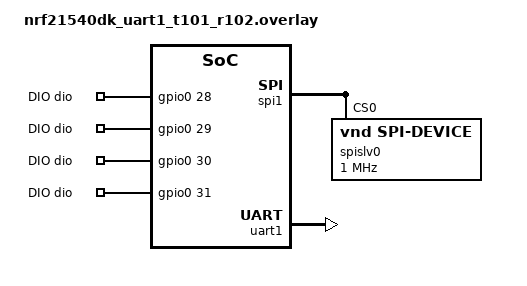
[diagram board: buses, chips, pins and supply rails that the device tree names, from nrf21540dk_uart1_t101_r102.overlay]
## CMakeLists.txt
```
#
# Copyright (c) 2021 Nordic Semiconductor ASA
#
# SPDX-License-Identifier: LicenseRef-Nordic-5-Clause
#
cmake_minimum_required(VERSION 3.20.0)

find_package(Zephyr REQUIRED HINTS $ENV{ZEPHYR_BASE})
project(LossTest_3rd_02s)

# NORDIC SDK APP START
target_sources(app PRIVATE src/main.c)
# NORDIC SDK APP END
target_sources(app PRIVATE src/losstst_svc.c)
target_sources(app PRIVATE src/ext_scr_svc.c)
target_sources(app PRIVATE src/int_spec_uart_svc.c)
target_sources(app PRIVATE src/int_spec_uart_svc.h)
target_sources(app PRIVATE src/nrf52txpwr.c)
target_sources(app PRIVATE src/nrf52txpwr.h)


zephyr_linker_sources(SECTIONS sections-rom.ld)
#zephyr_iterable_section(NAME my_section KVMA RAM_REGION GROUP RODATA_REGION SUBALIGN ${CONFIG_LINKER_ITERABLE_SUBALIGN})
zephyr_iterable_section(NAME KVMA RAM_REGION GROUP RODATA_REGION SUBALIGN ${CONFIG_LINKER_ITERABLE_SUBALIGN})
```

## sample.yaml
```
sample:
  description: Bluetooth Low Energy multiple advertising sets sample
  name: BLE multiple advertising sets sample
tests:
  sample.bluetooth.multiple_adv_sets.build:
    build_only: true
    integration_platforms:
      - nrf52dk_nrf52832
      - nrf52840dk_nrf52840
      - nrf5340dk_nrf5340_cpuapp
      - nrf5340dk_nrf5340_cpuapp_ns
    platform_allow: nrf52dk_nrf52832 nrf52840dk_nrf52840 nrf5340dk_nrf5340_cpuapp
      nrf5340dk_nrf5340_cpuapp_ns
    tags: bluetooth ci_build
```

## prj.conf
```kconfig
#
# Copyright (c) 2021 Nordic Semiconductor ASA
#
# SPDX-License-Identifier: LicenseRef-Nordic-5-Clause
#

CONFIG_NCS_SAMPLES_DEFAULTS=y

CONFIG_BT=y
#CONFIG_BT_PERIPHERAL=y
#CONFIG_BT_DEVICE_NAME="Nordic multi adv sets"
CONFIG_BT_DEVICE_APPEARANCE=512
#CONFIG_BT_DEVICE_NAME_DYNAMIC=y

CONFIG_BT_EXT_ADV=y
#CONFIG_BT_EXT_ADV_MAX_ADV_SET=2

#CONFIG_BT_DIS=y
#CONFIG_BT_DIS_PNP=y
#CONFIG_BT_DIS_MANUF="Nordic Semiconductor ASA"
#CONFIG_BT_DIS_PNP_VID_SRC=2
#CONFIG_BT_DIS_PNP_VID=0x1915
#CONFIG_BT_DIS_PNP_PID=0xEEF1
#CONFIG_BT_DIS_PNP_VER=0x0100

CONFIG_DK_LIBRARY=y
CONFIG_GPIO=y
CONFIG_PINCTRL=y
#CONFIG_UART_ASYNC_API=y
CONFIG_UART_INTERRUPT_DRIVEN=y
CONFIG_UART_USE_RUNTIME_CONFIGURE=y
CONFIG_OUTPUT_SYMBOLS=y
CONFIG_OUTPUT_DISASSEMBLY=y

CONFIG_BT_DEVICE_NAME_MAX=62
#CONFIG_BT_DEVICE_NAME="Turnkey LossTest"
CONFIG_BT_DEVICE_NAME="FFFFar. LossTest"
CONFIG_BT_PERIPHERAL=y
CONFIG_BT_CENTRAL=y
CONFIG_BT_BROADCASTER=y
CONFIG_BT_OBSERVER=y
CONFIG_BT_EXT_ADV_MAX_ADV_SET=5
CONFIG_BT_CTLR_TX_PWR_ANTENNA=8
CONFIG_BT_CTLR_TX_PWR_DYNAMIC_CONTROL=y
CONFIG_BT_CTLR_PHY_2M=y
CONFIG_BT_CTLR_PHY_CODED=y
CONFIG_BT_DEVICE_NAME_DYNAMIC=y
CONFIG_BT_CTLR_ADV_DATA_LEN_MAX=240
CONFIG_FLASH=y
CONFIG_FLASH_MAP=y
CONFIG_SETTINGS=y
CONFIG_SETTINGS_LOG_LEVEL_OFF=y
CONFIG_NVS=y
CONFIG_NVS_LOG_LEVEL_OFF=y
CONFIG_SETTINGS_NVS=y
CONFIG_BT_ID_MAX=5
CONFIG_BT_SETTINGS=y


CONFIG_CLOCK_CONTROL_NRF_K32SRC_XTAL=y
#CONFIG_CLOCK_CONTROL_NRF_K32SRC_RC=y

CONFIG_THREAD_NAME=y
CONFIG_THREAD_ANALYZER=y
CONFIG_THREAD_ANALYZER_AUTO=y
CONFIG_SCHED_THREAD_USAGE_ANALYSIS=y

CONFIG_MAIN_STACK_SIZE=2048
```

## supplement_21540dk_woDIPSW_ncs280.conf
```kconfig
CONFIG_BT_DIS_MODEL="nRF52840_QIAA"

CONFIG_BT_CTLR_TX_PWR_ANTENNA=20
#CONFIG_FEM_AL_LIB=y
CONFIG_MPSL_FEM=y
# CONFIG_MPSL_FEM_NRF21540_GPIO is not set
CONFIG_MPSL_FEM_NRF21540_GPIO_SPI=y
CONFIG_MPSL_FEM_NRF21540_TX_GAIN_DB=10
CONFIG_MPSL_FEM_NRF21540_TX_GAIN_DB_POUTA=20
CONFIG_MPSL_FEM_NRF21540_TX_GAIN_DB_POUTB=10
CONFIG_MPSL_FEM_NRF21540_RX_GAIN_DB=13
CONFIG_MPSL_FEM_NRF21540_RUNTIME_PA_GAIN_CONTROL=y
CONFIG_MPSL_FEM_POWER_MODEL=y
CONFIG_MPSL_FEM_POWER_MODEL_NRF21540_USE_BUILTIN=y
CONFIG_MPSL_FEM_BUILTIN_POWER_MODEL_UPDATE_PERIOD=2000
CONFIG_MPSL_FEM_DEVICE_CONFIG_254=y
CONFIG_NRFX_PPI=y

#CONFIG_RTT_CONSOLE=y
#CONFIG_UART_RTT=y
CONFIG_UART_CONSOLE=y
CONFIG_CONSOLE_HANDLER=y
CONFIG_CONSOLE_SUBSYS=y
CONFIG_CONSOLE_GETCHAR=y
CONFIG_CONSOLE_GETCHAR_BUFSIZE=64
CONFIG_CONSOLE_PUTCHAR_BUFSIZE=512

#CONFIG_SOC_DCDC_NRF52X=y
#CONFIG_BOARD_ENABLE_DCDC=y

#CONFIG_SPI=y
CONFIG_COMPILER_OPT="-DDTM_ADAPT_BRD=0 -DSHORT_NM -DUART_XMT_RCV_METHOD=HAZARD_UART_XMT_RCV -DUART_SEND_BREAK_METHOD=HAZARD_UART_BRK"
CONFIG_KERNEL_BIN_NAME="LossTest_21540dk_woDIPSW"
CONFIG_OUTPUT_SYMBOLS=y
CONFIG_BT_LOG_LEVEL_OFF=y
#CONFIG_UART_0_NRF_TX_BUFFER_SIZE=256
CONFIG_BT_ID_MAX=5

CONFIG_NRFX_TEMP=y
```

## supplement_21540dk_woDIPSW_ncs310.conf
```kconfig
CONFIG_BT_DIS_MODEL="nRF52840_QIAA"

CONFIG_BT_CTLR_TX_PWR_ANTENNA=20
#CONFIG_FEM_AL_LIB=y
CONFIG_MPSL_FEM=y
# CONFIG_MPSL_FEM_NRF21540_GPIO is not set
CONFIG_MPSL_FEM_NRF21540_GPIO_SPI=y
CONFIG_MPSL_FEM_NRF21540_TX_GAIN_DB=10
CONFIG_MPSL_FEM_NRF21540_TX_GAIN_DB_POUTA=20
CONFIG_MPSL_FEM_NRF21540_TX_GAIN_DB_POUTB=10
CONFIG_MPSL_FEM_NRF21540_RX_GAIN_DB=13
CONFIG_MPSL_FEM_NRF21540_RUNTIME_PA_GAIN_CONTROL=y
CONFIG_MPSL_FEM_POWER_MODEL=y
CONFIG_MPSL_FEM_POWER_MODEL_NRF21540_USE_BUILTIN=y
CONFIG_MPSL_FEM_BUILTIN_POWER_MODEL_UPDATE_PERIOD=2000
CONFIG_MPSL_FEM_DEVICE_CONFIG_254=y
CONFIG_NRFX_PPI=y

#CONFIG_RTT_CONSOLE=y
#CONFIG_UART_RTT=y
CONFIG_UART_CONSOLE=y
CONFIG_CONSOLE_HANDLER=y
CONFIG_CONSOLE_SUBSYS=y
CONFIG_CONSOLE_GETCHAR=y
CONFIG_CONSOLE_GETCHAR_BUFSIZE=64
CONFIG_CONSOLE_PUTCHAR_BUFSIZE=512

#CONFIG_SOC_DCDC_NRF52X=y
#CONFIG_BOARD_ENABLE_DCDC=y

#CONFIG_SPI=y
CONFIG_COMPILER_OPT="-DDTM_ADAPT_BRD=0 -DSHORT_NM -DUART_XMT_RCV_METHOD=HAZARD_UART_XMT_RCV -DUART_SEND_BREAK_METHOD=HAZARD_UART_BRK"
CONFIG_KERNEL_BIN_NAME="LossTest_21540dk_woDIPSW"
CONFIG_OUTPUT_SYMBOLS=y
CONFIG_BT_LOG_LEVEL_OFF=y
#CONFIG_UART_0_NRF_TX_BUFFER_SIZE=256
```

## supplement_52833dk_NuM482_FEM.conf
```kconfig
CONFIG_BT_DIS_MODEL="nRF52833_QDAA"

CONFIG_BT_CTLR_TX_PWR_ANTENNA=20
CONFIG_MPSL_FEM=y
# CONFIG_MPSL_FEM_NRF21540_GPIO is not set
CONFIG_MPSL_FEM_NRF21540_GPIO_SPI=y
CONFIG_MPSL_FEM_NRF21540_TX_GAIN_DB=10
CONFIG_MPSL_FEM_NRF21540_TX_GAIN_DB_POUTA=20
CONFIG_MPSL_FEM_NRF21540_TX_GAIN_DB_POUTB=10
CONFIG_MPSL_FEM_NRF21540_RX_GAIN_DB=13
CONFIG_MPSL_FEM_NRF21540_RUNTIME_PA_GAIN_CONTROL=y
CONFIG_MPSL_FEM_POWER_MODEL=y
CONFIG_MPSL_FEM_POWER_MODEL_NRF21540_USE_BUILTIN=y
CONFIG_MPSL_FEM_BUILTIN_POWER_MODEL_UPDATE_PERIOD=2000
CONFIG_MPSL_FEM_DEVICE_CONFIG_254=y
CONFIG_NRFX_PPI=y

#CONFIG_RTT_CONSOLE=y
#CONFIG_UART_RTT=y
CONFIG_UART_CONSOLE=y
CONFIG_CONSOLE_HANDLER=y
CONFIG_CONSOLE_SUBSYS=y
CONFIG_CONSOLE_GETCHAR=y
CONFIG_CONSOLE_GETCHAR_BUFSIZE=64
CONFIG_CONSOLE_PUTCHAR_BUFSIZE=512

#CONFIG_SPI=y
CONFIG_COMPILER_OPT="-DDTM_ADAPT_BRD=0 -DSHORT_NM -DUART_XMT_RCV_METHOD=HAZARD_UART_XMT_RCV -DUART_SEND_BREAK_METHOD=HAZARD_UART_BRK"
CONFIG_KERNEL_BIN_NAME="LossTest_proto_wiFEM"
CONFIG_OUTPUT_SYMBOLS=y
CONFIG_BT_LOG_LEVEL_OFF=y
```

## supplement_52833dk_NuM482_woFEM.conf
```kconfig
CONFIG_BT_DIS_MODEL="nRF52833_QDAA"

CONFIG_BT_CTLR_TX_PWR_ANTENNA=8
#CONFIG_MPSL_FEM=y
## CONFIG_MPSL_FEM_NRF21540_GPIO is not set
#CONFIG_MPSL_FEM_NRF21540_GPIO_SPI=y
#CONFIG_MPSL_FEM_NRF21540_TX_GAIN_DB=10
#CONFIG_MPSL_FEM_NRF21540_TX_GAIN_DB_POUTA=20
#CONFIG_MPSL_FEM_NRF21540_TX_GAIN_DB_POUTB=10
#CONFIG_MPSL_FEM_NRF21540_RX_GAIN_DB=13
#CONFIG_MPSL_FEM_NRF21540_RUNTIME_PA_GAIN_CONTROL=y
#CONFIG_MPSL_FEM_POWER_MODEL=y
#CONFIG_MPSL_FEM_POWER_MODEL_NRF21540_USE_BUILTIN=y
#CONFIG_MPSL_FEM_BUILTIN_POWER_MODEL_UPDATE_PERIOD=2000
#CONFIG_MPSL_FEM_DEVICE_CONFIG_254=y
#CONFIG_NRFX_PPI=y

#CONFIG_RTT_CONSOLE=y
#CONFIG_UART_RTT=y
CONFIG_UART_CONSOLE=y
CONFIG_CONSOLE_HANDLER=y
CONFIG_CONSOLE_SUBSYS=y
CONFIG_CONSOLE_GETCHAR=y
CONFIG_CONSOLE_GETCHAR_BUFSIZE=64
CONFIG_CONSOLE_PUTCHAR_BUFSIZE=512

#CONFIG_SPI=y
CONFIG_COMPILER_OPT="-DDTM_ADAPT_BRD=0 -DSHORT_NM -DUART_XMT_RCV_METHOD=HAZARD_UART_XMT_RCV -DUART_SEND_BREAK_METHOD=HAZARD_UART_BRK"
CONFIG_KERNEL_BIN_NAME="LossTest_proto_woFEM"
CONFIG_OUTPUT_SYMBOLS=y
CONFIG_BT_LOG_LEVEL_OFF=y
```

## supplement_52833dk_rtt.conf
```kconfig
CONFIG_BT_DIS_MODEL="nRF52833_QDAA"
CONFIG_BT_DEVICE_NAME_MAX=62
CONFIG_BT_DEVICE_NAME="Turnkey LossTest"
CONFIG_BT_PERIPHERAL=y
CONFIG_BT_CENTRAL=y
CONFIG_BT_BROADCASTER=y
CONFIG_BT_OBSERVER=y
CONFIG_BT_EXT_ADV_MAX_ADV_SET=2
#CONFIG_BT_CTLR_TX_PWR_DBM=0
CONFIG_BT_CTLR_TX_PWR_ANTENNA=8
CONFIG_BT_CTLR_TX_PWR_DYNAMIC_CONTROL=y
CONFIG_BT_CTLR_PHY_2M=y
CONFIG_BT_CTLR_PHY_CODED=y
CONFIG_BT_DEVICE_NAME_DYNAMIC=y
CONFIG_BT_DEVICE_NAME_MAX=62

CONFIG_UART_CONSOLE=n
CONFIG_RTT_CONSOLE=y
CONFIG_UART_RTT=y

CONFIG_CLOCK_CONTROL_NRF_K32SRC_XTAL=y
#CONFIG_CLOCK_CONTROL_NRF_K32SRC_RC=y

CONFIG_BOARD_ENABLE_DCDC=y

CONFIG_COMPILER_OPT="-DADV_IDENTIFY_ADDR=1 -DADV_PHY_SPEC=1"
CONFIG_KERNEL_BIN_NAME="LossTest_DCDC"
```

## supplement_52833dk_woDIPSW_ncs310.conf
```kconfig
CONFIG_BT_DIS_MODEL="nRF52833_QDAA"

CONFIG_BT_CTLR_TX_PWR_ANTENNA=8

#CONFIG_RTT_CONSOLE=y
#CONFIG_UART_RTT=y
CONFIG_UART_CONSOLE=y
CONFIG_CONSOLE_HANDLER=y
CONFIG_CONSOLE_SUBSYS=y
CONFIG_CONSOLE_GETCHAR=y
CONFIG_CONSOLE_GETCHAR_BUFSIZE=64
CONFIG_CONSOLE_PUTCHAR_BUFSIZE=512

#CONFIG_SOC_DCDC_NRF52X=y
#CONFIG_BOARD_ENABLE_DCDC=y

#CONFIG_SPI=y
CONFIG_COMPILER_OPT="-DDTM_ADAPT_BRD=0 -DSHORT_NM -DUART_XMT_RCV_METHOD=HAZARD_UART_XMT_RCV -DUART_SEND_BREAK_METHOD=HAZARD_UART_BRK"
CONFIG_KERNEL_BIN_NAME="LossTest_52833dk_woDIPSW"
CONFIG_OUTPUT_SYMBOLS=y
CONFIG_BT_LOG_LEVEL_OFF=y
#CONFIG_UART_0_NRF_TX_BUFFER_SIZE=256
#CONFIG_NCS_BOOT_BANNER=n
#CONFIG_BOOT_BANNER=n
```

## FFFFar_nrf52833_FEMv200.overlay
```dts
// To get started, press Ctrl+Space to bring up the completion menu and view the available nodes.

// You can also use the buttons in the sidebar to perform actions on nodes.
// Actions currently available include:

// * Enabling / disabling the node
// * Adding the bus to a bus
// * Removing the node
// * Connecting ADC channels

// For more help, browse the DeviceTree documentation at https://docs.zephyrproject.org/latest/guides/dts/index.html
// You can also visit the nRF DeviceTree extension documentation at https://nrfconnect.github.io/vscode-nrf-connect/devicetree/nrfdevicetree.html

/ {
    rtt_uart {
        compatible = "segger,rtt-uart";
    };

    chosen {
        zephyr,bt-c2h-uart = &{/rtt_uart/};
        zephyr,bt-mon-uart = &{/rtt_uart/};
        zephyr,console = &{/rtt_uart/};
        zephyr,shell-uart = &{/rtt_uart/};
        zephyr,uart-mcumgr = &{/rtt_uart/};
    };
    /* ENABLE  Kconfig::Device Drivers::Console Drivers::Use RTT Console
       DISABLE Kconfig::Device Drivers::Console Drivers::Use UART for Console */

    /*rtt_uart: rtt_chan0 {
		compatible = "segger,rtt-uart";
		status = "okay";
	};*/

    buttons {
        status = "disabled";
    };

    leds {
        status = "disabled";
    };

    nrf_radio_fem: nrf21540-fem {
        compatible = "nordic,nrf21540-fem";
        zephyr,pm-device-runtime-auto;
        tx-en-gpios = <&gpio0 2 GPIO_ACTIVE_HIGH>;
        rx-en-gpios = <&gpio0 3 GPIO_ACTIVE_HIGH>;
        pdn-gpios = <&gpio0 28 GPIO_ACTIVE_HIGH>;
        /* ant-sel-gpios = <&gpio1 4 0>; */
        mode-gpios = <&gpio0 15 GPIO_ACTIVE_HIGH>;
        spi-if = <&nrf_radio_fem_spi>;
		supply-voltage-mv = <3300>;
    };
};

fem_spi: &spi3 {
	status = "okay";
	cs-gpios = <&gpio0 17 GPIO_ACTIVE_LOW>;

	pinctrl-0 = <&spi3_default>;
	pinctrl-1 = <&spi3_sleep>;
	pinctrl-names = "default", "sleep";
	nrf_radio_fem_spi: nrf21540_fem_spi@0 {
		compatible = "nordic,nrf21540-fem-spi";
		status = "okay";
		reg = <0>;
		spi-max-frequency = <8000000>;
	};
};

&radio {
    fem = <&nrf_radio_fem>;
};

&arduino_header {
    gpio-map = <0 0 &gpio0 3 0>,
               <1 0 &gpio0 4 0>,
               <2 0 &gpio0 28 0>,
               <3 0 &gpio0 29 0>,
               <4 0 &gpio0 30 0>,
               <5 0 &gpio0 31 0>,
               <6 0 &gpio1 1 0>,
               <7 0 &gpio1 2 0>,
               <8 0 &gpio1 3 0>,
               <9 0 &gpio1 4 0>,
               <10 0 &gpio1 5 0>,
               <11 0 &gpio1 6 0>,
               <12 0 &gpio1 7 0>,
               <13 0 &gpio1 8 0>,
               <14 0 &gpio0 17 0>,
               <15 0 &gpio0 19 0>,
               <16 0 &gpio0 20 0>,
               <17 0 &gpio0 21 0>,
               <18 0 &gpio0 22 0>,
               <19 0 &gpio0 23 0>,
               <20 0 &gpio0 26 0>,
               <21 0 &gpio0 27 0>;
    status = "disabled";
};

&button0 {
    status = "disabled";
};

&button1 {
    status = "disabled";
};

&button2 {
    status = "disabled";
};

&button3 {
    status = "disabled";
};

&led0 {
    status = "disabled";
};

&led1 {
    status = "disabled";
};

&led2 {
    status = "disabled";
};

&led3 {
    status = "disabled";
};

&nfct {
    status = "disabled";
};

&uicr {
    nfct-pins-as-gpios;
};

&spi1 {
    status = "disabled";
};

&i2c0_default {
    group1 {
        psels = <NRF_PSEL(TWIM_SDA, 0, 5)>, <NRF_PSEL(TWIM_SCL, 0, 4)>;
    };
};

&i2c0_sleep {
    group1 {
        psels = <NRF_PSEL(TWIM_SDA, 0, 5)>, <NRF_PSEL(TWIM_SCL, 0, 4)>;
    };
};

&spi0_default {
    group1 {
        psels = <NRF_PSEL(SPIM_SCK, 0, 5)>,
                <NRF_PSEL(SPIM_MOSI, 0, 4)>,
                <NRF_PSEL(SPIM_MISO, 1, 9)>;
    };
};

&spi0_sleep {
    group1 {
        psels = <NRF_PSEL(SPIM_SCK, 0, 5)>,
                <NRF_PSEL(SPIM_MOSI, 0, 4)>,
                <NRF_PSEL(SPIM_MISO, 1, 9)>;
    };
};

&spi3_default {
    group1 {
        psels = <NRF_PSEL(SPIM_SCK, 0, 10)>,
                <NRF_PSEL(SPIM_MISO, 0, 20)>,
                <NRF_PSEL(SPIM_MOSI, 0, 9)>;
    };
};

&spi3_sleep {
    group1 {
        psels = <NRF_PSEL(SPIM_SCK, 0, 10)>,
                <NRF_PSEL(SPIM_MISO, 0, 20)>,
                <NRF_PSEL(SPIM_MOSI, 0, 9)>;
    };
};

&spi0 {
    cs-gpios = <&gpio0 11 0>;
    status = "disabled";
};

&uart0 {
    status = "disabled";
};
```

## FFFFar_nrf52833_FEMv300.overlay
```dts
// To get started, press Ctrl+Space to bring up the completion menu and view the available nodes.

// You can also use the buttons in the sidebar to perform actions on nodes.
// Actions currently available include:

// * Enabling / disabling the node
// * Adding the bus to a bus
// * Removing the node
// * Connecting ADC channels

// For more help, browse the DeviceTree documentation at https://docs.zephyrproject.org/latest/guides/dts/index.html
// You can also visit the nRF DeviceTree extension documentation at https://nrfconnect.github.io/vscode-nrf-connect/devicetree/nrfdevicetree.html

/ {
    rtt_uart {
        compatible = "segger,rtt-uart";
    };

    chosen {
        zephyr,bt-c2h-uart = &{/rtt_uart/};
        zephyr,bt-mon-uart = &{/rtt_uart/};
        zephyr,console = &{/rtt_uart/};
        zephyr,shell-uart = &{/rtt_uart/};
        zephyr,uart-mcumgr = &{/rtt_uart/};
    };
    /* ENABLE  Kconfig::Device Drivers::Console Drivers::Use RTT Console
       DISABLE Kconfig::Device Drivers::Console Drivers::Use UART for Console */

    /*rtt_uart: rtt_chan0 {
		compatible = "segger,rtt-uart";
		status = "okay";
	};*/

    buttons {
        status = "disabled";
    };

    leds {
        status = "disabled";
    };

    nrf_radio_fem: nrf21540-fem {
        compatible = "nordic,nrf21540-fem";
        zephyr,pm-device-runtime-auto;
        tx-en-gpios = <&gpio0 28 GPIO_ACTIVE_HIGH>;//<&gpio0 2 GPIO_ACTIVE_HIGH>;
        rx-en-gpios = <&gpio0 3 GPIO_ACTIVE_HIGH>;
        pdn-gpios = <&gpio0 29 GPIO_ACTIVE_HIGH>;//<&gpio0 28 GPIO_ACTIVE_HIGH>;
        /* ant-sel-gpios = <&gpio1 4 0>; */
        mode-gpios = <&gpio0 2 GPIO_ACTIVE_HIGH>;//<&gpio0 15 GPIO_ACTIVE_HIGH>;
        spi-if = <&nrf_radio_fem_spi>;
		supply-voltage-mv = <3300>;
    };
};

fem_spi: &spi3 {
	status = "okay";
	cs-gpios = <&gpio0 17 GPIO_ACTIVE_LOW>;

	pinctrl-0 = <&spi3_default>;
	pinctrl-1 = <&spi3_sleep>;
	pinctrl-names = "default", "sleep";
	nrf_radio_fem_spi: nrf21540_fem_spi@0 {
		compatible = "nordic,nrf21540-fem-spi";
		status = "okay";
		reg = <0>;
		spi-max-frequency = <8000000>;
	};
};

&radio {
    fem = <&nrf_radio_fem>;
};

&arduino_header {
    gpio-map = <0 0 &gpio0 3 0>,
               <1 0 &gpio0 4 0>,
               <2 0 &gpio0 28 0>,
               <3 0 &gpio0 29 0>,
               <4 0 &gpio0 30 0>,
               <5 0 &gpio0 31 0>,
               <6 0 &gpio1 1 0>,
               <7 0 &gpio1 2 0>,
               <8 0 &gpio1 3 0>,
               <9 0 &gpio1 4 0>,
               <10 0 &gpio1 5 0>,
               <11 0 &gpio1 6 0>,
               <12 0 &gpio1 7 0>,
               <13 0 &gpio1 8 0>,
               <14 0 &gpio0 17 0>,
               <15 0 &gpio0 19 0>,
               <16 0 &gpio0 20 0>,
               <17 0 &gpio0 21 0>,
               <18 0 &gpio0 22 0>,
               <19 0 &gpio0 23 0>,
               <20 0 &gpio0 26 0>,
               <21 0 &gpio0 27 0>;
    status = "disabled";
};

&button0 {
    status = "disabled";
};

&button1 {
    status = "disabled";
};

&button2 {
    status = "disabled";
};

&button3 {
    status = "disabled";
};

&led0 {
    status = "disabled";
};

&led1 {
    status = "disabled";
};

&led2 {
    status = "disabled";
};

&led3 {
    status = "disabled";
};

&nfct {
    status = "disabled";
};

&uicr {
    nfct-pins-as-gpios;
};

&spi1 {
    status = "disabled";
};

&i2c0_default {
    group1 {
        psels = <NRF_PSEL(TWIM_SDA, 0, 5)>, <NRF_PSEL(TWIM_SCL, 0, 4)>;
    };
};

&i2c0_sleep {
    group1 {
        psels = <NRF_PSEL(TWIM_SDA, 0, 5)>, <NRF_PSEL(TWIM_SCL, 0, 4)>;
    };
};

&spi0_default {
    group1 {
        psels = <NRF_PSEL(SPIM_SCK, 0, 5)>,
                <NRF_PSEL(SPIM_MOSI, 0, 4)>,
                <NRF_PSEL(SPIM_MISO, 1, 9)>;
    };
};

&spi0_sleep {
    group1 {
        psels = <NRF_PSEL(SPIM_SCK, 0, 5)>,
                <NRF_PSEL(SPIM_MOSI, 0, 4)>,
                <NRF_PSEL(SPIM_MISO, 1, 9)>;
    };
};

&spi3_default {
    group1 {
        psels = <NRF_PSEL(SPIM_SCK, 0, 10)>,
                <NRF_PSEL(SPIM_MISO, 0, 20)>,
                <NRF_PSEL(SPIM_MOSI, 0, 9)>;
    };
};

&spi3_sleep {
    group1 {
        psels = <NRF_PSEL(SPIM_SCK, 0, 10)>,
                <NRF_PSEL(SPIM_MISO, 0, 20)>,
                <NRF_PSEL(SPIM_MOSI, 0, 9)>;
    };
};

&spi0 {
    cs-gpios = <&gpio0 11 0>;
    status = "disabled";
};

&uart0 {
    status = "disabled";
};
```

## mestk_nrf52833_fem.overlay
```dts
// To get started, press Ctrl+Space to bring up the completion menu and view the available nodes.

// You can also use the buttons in the sidebar to perform actions on nodes.
// Actions currently available include:

// * Enabling / disabling the node
// * Adding the bus to a bus
// * Removing the node
// * Connecting ADC channels

// For more help, browse the DeviceTree documentation at https://docs.zephyrproject.org/latest/guides/dts/index.html
// You can also visit the nRF DeviceTree extension documentation at https://nrfconnect.github.io/vscode-nrf-connect/devicetree/nrfdevicetree.html

/ {
    rtt_uart {
        compatible = "segger,rtt-uart";
    };

    chosen {
        zephyr,bt-c2h-uart = &{/rtt_uart/};
        zephyr,bt-mon-uart = &{/rtt_uart/};
        zephyr,console = &{/rtt_uart/};
        zephyr,shell-uart = &{/rtt_uart/};
        zephyr,uart-mcumgr = &{/rtt_uart/};
    };
    /* ENABLE  Kconfig::Device Drivers::Console Drivers::Use RTT Console
       DISABLE Kconfig::Device Drivers::Console Drivers::Use UART for Console */

    /*rtt_uart: rtt_chan0 {
		compatible = "segger,rtt-uart";
		status = "okay";
	};*/

    buttons {
        status = "disabled";
    };

    leds {
        status = "disabled";
    };

    nrf_radio_fem: nrf21540-fem {
        compatible = "nordic,nrf21540-fem";
        zephyr,pm-device-runtime-auto;
        tx-en-gpios = <&gpio0 28 GPIO_ACTIVE_HIGH>;
        rx-en-gpios = <&gpio0 3 GPIO_ACTIVE_HIGH>;
        pdn-gpios = <&gpio0 29 GPIO_ACTIVE_HIGH>;
        /* ant-sel-gpios = <&gpio1 4 0>; */
        mode-gpios = <&gpio0 2 GPIO_ACTIVE_HIGH>;
        spi-if = <&nrf_radio_fem_spi>;
		supply-voltage-mv = <3300>;
    };
};

fem_spi: &spi3 {
	status = "okay";
	cs-gpios = <&gpio0 17 GPIO_ACTIVE_LOW>;

	pinctrl-0 = <&spi3_default>;
	pinctrl-1 = <&spi3_sleep>;
	pinctrl-names = "default", "sleep";
	nrf_radio_fem_spi: nrf21540_fem_spi@0 {
		compatible = "nordic,nrf21540-fem-spi";
		status = "okay";
		reg = <0>;
		spi-max-frequency = <8000000>;
	};
};

&radio {
    fem = <&nrf_radio_fem>;
};

&arduino_header {
    gpio-map = <0 0 &gpio0 3 0>,
               <1 0 &gpio0 4 0>,
               <2 0 &gpio0 28 0>,
               <3 0 &gpio0 29 0>,
               <4 0 &gpio0 30 0>,
               <5 0 &gpio0 31 0>,
               <6 0 &gpio1 1 0>,
               <7 0 &gpio1 2 0>,
               <8 0 &gpio1 3 0>,
               <9 0 &gpio1 4 0>,
               <10 0 &gpio1 5 0>,
               <11 0 &gpio1 6 0>,
               <12 0 &gpio1 7 0>,
               <13 0 &gpio1 8 0>,
               <14 0 &gpio0 17 0>,
               <15 0 &gpio0 19 0>,
               <16 0 &gpio0 20 0>,
               <17 0 &gpio0 21 0>,
               <18 0 &gpio0 22 0>,
               <19 0 &gpio0 23 0>,
               <20 0 &gpio0 26 0>,
               <21 0 &gpio0 27 0>;
    status = "disabled";
};

&button0 {
    status = "disabled";
};

&button1 {
    status = "disabled";
};

&button2 {
    status = "disabled";
};

&button3 {
    status = "disabled";
};

&led0 {
    status = "disabled";
};

&led1 {
    status = "disabled";
};

&led2 {
    status = "disabled";
};

&led3 {
    status = "disabled";
};

&nfct {
    status = "disabled";
};

&uicr {
    nfct-pins-as-gpios;
};

&spi1 {
    status = "disabled";
};

&i2c0_default {
    group1 {
        psels = <NRF_PSEL(TWIM_SDA, 0, 5)>, <NRF_PSEL(TWIM_SCL, 0, 4)>;
    };
};

&i2c0_sleep {
    group1 {
        psels = <NRF_PSEL(TWIM_SDA, 0, 5)>, <NRF_PSEL(TWIM_SCL, 0, 4)>;
    };
};

&spi0_default {
    group1 {
        psels = <NRF_PSEL(SPIM_SCK, 0, 5)>,
                <NRF_PSEL(SPIM_MOSI, 0, 4)>,
                <NRF_PSEL(SPIM_MISO, 1, 9)>;
    };
};

&spi0_sleep {
    group1 {
        psels = <NRF_PSEL(SPIM_SCK, 0, 5)>,
                <NRF_PSEL(SPIM_MOSI, 0, 4)>,
                <NRF_PSEL(SPIM_MISO, 1, 9)>;
    };
};

&spi3_default {
    group1 {
        psels = <NRF_PSEL(SPIM_SCK, 0, 10)>,
                <NRF_PSEL(SPIM_MISO, 0, 20)>,
                <NRF_PSEL(SPIM_MOSI, 0, 9)>;
    };
};

&spi3_sleep {
    group1 {
        psels = <NRF_PSEL(SPIM_SCK, 0, 10)>,
                <NRF_PSEL(SPIM_MISO, 0, 20)>,
                <NRF_PSEL(SPIM_MOSI, 0, 9)>;
    };
};

&spi0 {
    cs-gpios = <&gpio0 11 0>;
    status = "disabled";
};

&uart0 {
    status = "disabled";
};
```

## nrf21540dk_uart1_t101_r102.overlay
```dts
// To get started, press Ctrl+Space to bring up the completion menu and view the available nodes.

// You can also use the buttons in the sidebar to perform actions on nodes.
// Actions currently available include:

// * Enabling / disabling the node
// * Adding the bus to a bus
// * Removing the node
// * Connecting ADC channels

// For more help, browse the DeviceTree documentation at https://docs.zephyrproject.org/latest/guides/dts/index.html
// You can also visit the nRF DeviceTree extension documentation at https://docs.nordicsemi.com/bundle/nrf-connect-vscode/page/guides/ncs_configure_app.html#devicetree-support-in-the-extension

&uart1_default {
	group1 {
		psels = <NRF_PSEL(UART_TX, 1, 1)>;
		bias-pull-up;
	};

	group2 {
		psels = <NRF_PSEL(UART_RX, 1, 2)>;
		bias-pull-up;
	};
};

&spi1_default {

	group2 {
		psels = <NRF_PSEL(SPIM_SCK, 0, 4)>, <NRF_PSEL(SPIM_MISO, 0, 5)>;
		bias-pull-up;
		nordic,invert;
	};
};
/delete-node/ &{/pin-controller/spi1_default/group1/};

&spi1 {
	max-frequency = <DT_FREQ_M(1)>;
    slv0:dmyslv0@0 {
        compatible = "vnd,spi-device","spi-device";
        reg = <0>;
        label = "spislv0";
        frame-format = <0>;
        duplex = <0>;
        zephyr,pm-device-runtime-auto;
        wakeup-source;
        spi-max-frequency = <DT_FREQ_K(1000)>;
    };
};

&uart1 {
	status = "okay";
};

/ {
    chosen {
        zephyr,bt-c2h-uart = &uart0;
        zephyr,bt-mon-uart = &uart0;
        zephyr,console = &uart0;
        zephyr,shell-uart = &uart0;
        zephyr,uart-mcumgr = &uart0;
    };
	DIO:zephyr,user {
		dio-gpios = <&gpio0 28 (GPIO_ACTIVE_HIGH | GPIO_PULL_UP)>,
					<&gpio0 29 (GPIO_ACTIVE_HIGH | GPIO_PULL_UP)>,
					<&gpio0 30 (GPIO_ACTIVE_HIGH | GPIO_PULL_UP)>,
					<&gpio0 31 (GPIO_ACTIVE_HIGH | GPIO_PULL_UP)>;
		status = "okay";
	};
};

&uart0_default {
	group1 {
		psels = <NRF_PSEL(UART_TX, 0, 6)>;
	};

	group2 {
		psels = <NRF_PSEL(UART_RX, 0, 8)>;
	};
};
```

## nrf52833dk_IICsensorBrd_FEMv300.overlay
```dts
// To get started, press Ctrl+Space to bring up the completion menu and view the available nodes.

// You can also use the buttons in the sidebar to perform actions on nodes.
// Actions currently available include:

// * Enabling / disabling the node
// * Adding the bus to a bus
// * Removing the node
// * Connecting ADC channels

// For more help, browse the DeviceTree documentation at https://docs.zephyrproject.org/latest/guides/dts/index.html
// You can also visit the nRF DeviceTree extension documentation at https://docs.nordicsemi.com/bundle/nrf-connect-vscode/page/guides/ncs_configure_app.html#devicetree-support-in-the-extension

&uart1_default {
	group1 {
		psels = <NRF_PSEL(UART_TX, 0, 11)>;
	};

	group2 {
		psels = <NRF_PSEL(UART_RX, 1, 9)>;
	};
};

&uart1 {
    status = "okay";
};

&uart0 {
    status = "okay";
};

&spi1_default {

	group2 {
		psels = <NRF_PSEL(SPIM_SCK, 0, 4)>, <NRF_PSEL(SPIM_MISO, 0, 5)>;
		bias-pull-up;
		nordic,invert;
	};
};
/delete-node/ &{/pin-controller/spi1_default/group1/};

&spi1 {
	max-frequency = <DT_FREQ_M(1)>;
    slv0:dmyslv0@0 {
        compatible = "vnd,spi-device","spi-device";
        reg = <0>;
        label = "spislv0";
        frame-format = <0>;
        duplex = <0>;
        zephyr,pm-device-runtime-auto;
        wakeup-source;
        spi-max-frequency = <DT_FREQ_K(1000)>;
    };
	status = "okay";
};


&nrf_radio_fem {
	supply-voltage-mv = <3300>;
};


/ {
    chosen {
        zephyr,bt-c2h-uart = &uart0;
        zephyr,bt-mon-uart = &uart0;
        zephyr,console = &uart0;
        zephyr,shell-uart = &uart0;
        zephyr,uart-mcumgr = &uart0;
    };
	DIO:zephyr,user {
		dio-gpios = <&gpio0 20 (GPIO_ACTIVE_HIGH | GPIO_PULL_UP)>,
					<&gpio0 21 (GPIO_ACTIVE_HIGH | GPIO_PULL_UP)>,
					<&gpio0 22 (GPIO_ACTIVE_HIGH | GPIO_PULL_UP)>,
					<&gpio0 23 (GPIO_ACTIVE_HIGH | GPIO_PULL_UP)>;
		status = "okay";
	};
};
```

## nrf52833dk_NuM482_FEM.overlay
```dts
// To get started, press Ctrl+Space to bring up the completion menu and view the available nodes.

// You can also use the buttons in the sidebar to perform actions on nodes.
// Actions currently available include:

// * Enabling / disabling the node
// * Adding the bus to a bus
// * Removing the node
// * Connecting ADC channels

// For more help, browse the DeviceTree documentation at https://docs.zephyrproject.org/latest/guides/dts/index.html
// You can also visit the nRF DeviceTree extension documentation at https://docs.nordicsemi.com/bundle/nrf-connect-vscode/page/guides/ncs_configure_app.html#devicetree-support-in-the-extension

&uart1_default {
	group1 {
		psels = <NRF_PSEL(UART_TX, 0, 11)>;
	};

	group2 {
		psels = <NRF_PSEL(UART_RX, 1, 9)>;
	};
};

&uart1 {
    status = "okay";
};

&uart0 {
    status = "okay";
};

&spi1_default {

	group2 {
		psels = <NRF_PSEL(SPIM_SCK, 0, 4)>, <NRF_PSEL(SPIM_MISO, 0, 5)>;
		bias-pull-up;
		nordic,invert;
	};
};
/delete-node/ &{/pin-controller/spi1_default/group1/};

&spi1 {
	max-frequency = <DT_FREQ_M(1)>;
    slv0:dmyslv0@0 {
        compatible = "vnd,spi-device","spi-device";
        reg = <0>;
        label = "spislv0";
        frame-format = <0>;
        duplex = <0>;
        zephyr,pm-device-runtime-auto;
        wakeup-source;
        spi-max-frequency = <DT_FREQ_K(1000)>;
    };
	status = "okay";
};


&nrf_radio_fem {
	supply-voltage-mv = <3300>;
};


/ {
    chosen {
        zephyr,bt-c2h-uart = &uart0;
        zephyr,bt-mon-uart = &uart0;
        zephyr,console = &uart0;
        zephyr,shell-uart = &uart0;
        zephyr,uart-mcumgr = &uart0;
    };
	DIO:zephyr,user {
		dio-gpios = <&gpio0 21 (GPIO_ACTIVE_HIGH | GPIO_PULL_UP)>,
					<&gpio0 22 (GPIO_ACTIVE_HIGH | GPIO_PULL_UP)>,
					<&gpio0 23 (GPIO_ACTIVE_HIGH | GPIO_PULL_UP)>,
					<&gpio0 24 (GPIO_ACTIVE_HIGH | GPIO_PULL_UP)>;
		status = "okay";
	};
};
```

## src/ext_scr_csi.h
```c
enum CSI_FUNC {
    CSI_ICH  =0x40, //  : INSERT CHARACTER
    CSI_CUU  =0x41, //  : CURSOR UP
    CSI_CUD  =0x42, //  : CURSOR DOWN
    CSI_CUF  =0x43, //  : CURSOR RIGHT
    CSI_CUB  =0x44, //  : CURSOR LEFT
    CSI_CNL  =0x45, //  : CURSOR NEXT LINE
    CSI_CPL  =0x46, //  : CURSOR PRECEDING LINE
    CSI_CHA  =0x47, //  : CURSOR CHARACTER ABSOLUTE
    CSI_CUP  =0x48, //  : CURSOR POSITION
    CSI_CHT  =0x49, //  : CURSOR FORWARD TABULATION
    CSI_ED   =0x4A, //  : ERASE IN PAGE
    CSI_EL   =0x4B, //  : ERASE IN LINE
    CSI_IL   =0x4C, //  : INSERT LINE
    CSI_DL   =0x4D, //  : DELETE LINE
    CSI_EF   =0x4E, //  : ERASE IN FIELD
    CSI_EA   =0x4F, //  : ERASE IN AREA
    CSI_DCH  =0x50, //  : DELETE CHARACTER
    CSI_SEE  =0x51, //  : SELECT EDITING EXTENT
    CSI_CPR  =0x52, //  : ACTIVE POSITION REPORT
    CSI_SU   =0x53, //  : SCROLL UP
    CSI_SD   =0x54, //  : SCROLL DOWN
    CSI_NP   =0x55, //  : NEXT PAGE
    CSI_PP   =0x56, //  : PRECEDING PAGE
    CSI_CTC  =0x57, //  : CURSOR TABULATION CONTROL
    CSI_ECH  =0x58, //  : ERASE CHARACTER
    CSI_CVT  =0x59, //  : CURSOR LINE TABULATION
    CSI_CBT  =0x5A, //  : CURSOR BACKWARD TABULATION
    CSI_SRS  =0x5B, //  : START REVERSED STRING
    CSI_PTX  =0x5C, //  : PARALLEL TEXTS
    CSI_SDS  =0x5D, //  : START DIRECTED STRING
    CSI_SIMD =0x5E, //  : SELECT IMPLICIT MOVEMENT DIRECTION
    CSI_HPA  =0x60, //  : CHARACTER POSITION ABSOLUTE
    CSI_HPR  =0x61, //  : CHARACTER POSITION FORWARD
    CSI_REP  =0x62, //  : REPEAT
    CSI_DA   =0x63, //  : DEVICE ATTRIBUTES
    CSI_VPA  =0x64, //  : LINE POSITION ABSOLUTE
    CSI_VPR  =0x65, //  : LINE POSITION FORWARD
    CSI_HVP  =0x66, //  : CHARACTER AND LINE POSITION
    CSI_TBC  =0x67, //  : TABULATION CLEAR
    CSI_SM   =0x68, //  : SET MODE
    CSI_MC   =0x69, //  : MEDIA COPY
    CSI_HPB  =0x6A, //  : CHARACTER POSITION BACKWARD
    CSI_VPB  =0x6B, //  : LINE POSITION BACKWARD
    CSI_RM   =0x6C, //  : RESET MODE
    CSI_SGR  =0x6D, //  : SELECT GRAPHIC RENDITION
    CSI_DSR  =0x6E, //  : DEVICE STATUS REPORT
    CSI_DAQ  =0x6F, //  : DEFINE AREA QUALIFICATION

    CSI_PRIVATE_X74 = 0x74, // 't'
    CSI_PRIVATE_X7E = 0x7E, // '~'
    CSI_SL   =0x80+0x40, //  : SCROLL LEFT
    CSI_SR   =0x80+0x41, //  : SCROLL RIGHT
    CSI_GSM  =0x80+0x42, //  : GRAPHIC SIZE MODIFICATION
    CSI_GSS  =0x80+0x43, //  : GRAPHIC SIZE SELECTION
    CSI_FNT  =0x80+0x44, //  : FONT SELECTION
    CSI_TSS  =0x80+0x45, //  : THIN SPACE SPECIFICATION
    CSI_JFY  =0x80+0x46, //  : JUSTIFY
    CSI_SPI  =0x80+0x47, //  : 
    CSI_QUAD =0x80+0x48, //  : QUAD
    CSI_SSU  =0x80+0x49, //  : SELECT SIZE UNIT
    CSI_PFS  =0x80+0x4A, //  : PAGE FORMAT SELECTION
    CSI_SHS  =0x80+0x4B, //  : SELECT CHARACTER SPACING
    CSI_SVS  =0x80+0x4C, //  : SELECT LINE SPACING
    CSI_IGS  =0x80+0x4D, //  : IDENTIFY GRAPHIC SUBREPERTOIRE
    CSI_IDCS =0x80+0x4F, //  : IDENTIFY DEVICE CONTROL STRING
    CSI_PPA  =0x80+0x50, //  : PAGE POSITION ABSOLUTE
    CSI_PPR  =0x80+0x51, //  : PAGE POSITION FORWARD
    CSI_PPB  =0x80+0x52, //  : PAGE POSITION BACKWARD
    CSI_SPD  =0x80+0x53, //  : SELECT PRESENTATION DIRECTIONS
    CSI_DTA  =0x80+0x54, //  : DIMENSION TEXT AREA
    CSI_SLH  =0x80+0x55, //  : SET LINE HOME
    CSI_SLL  =0x80+0x56, //  : SET LINE LIMIT
    CSI_FNK  =0x80+0x57, //  : FUNCTION KEY
    CSI_SPQR =0x80+0x58, //  : SELECT PRINT QUALITY AND RAPIDITY
    CSI_SEF  =0x80+0x59, //  : SHEET EJECT AND FEED
    CSI_PEC  =0x80+0x5A, //  : PRESENTATION EXPAND OR CONTRACT
    CSI_SSW  =0x80+0x5B, //  : SELECT SPACE WIDTH
    CSI_SACS =0x80+0x5C, //  : SET ADDITIONAL CHARACTER SEPARATION
    CSI_SAPV =0x80+0x5D, //  : SELECT ALTERNATIVE PRESENTATION VARIANTS
    CSI_STAB =0x80+0x5E, //  : SELECTIVE TABULATION
    CSI_GCC  =0x80+0x5F, //  : GRAPHIC CHARACTER COMBINATION
    CSI_TATE =0x80+0x60, //  : TABULATION ALIGNED TRAILING EDGE
    CSI_TALE =0x80+0x61, //  : TABULATION ALIGNED LEADING EDGE
    CSI_TAC  =0x80+0x62, //  : TABULATION ALIGNED CENTRED
    CSI_TCC  =0x80+0x63, //  : 
    CSI_TSR  =0x80+0x64, //  : TABULATION STOP REMOVE
    CSI_SCO  =0x80+0x65, //  : SET CHARACTER ORIENTATION
    CSI_SRCS =0x80+0x66, //  : SET REDUCED CHARACTER SEPARATION
    CSI_SCS  =0x80+0x67, //  : SET CHARACTER SPACING
    CSI_SLS  =0x80+0x68, //  : SET LINE SPACING
    CSI_SPH  =0x80+0x69, //  : SET PAGE HOME
    CSI_SPL  =0x80+0x6A, //  : SET PAGE LIMIT
    CSI_SCP  =0x80+0x6B, //  : SELECT CHARACTER PATH
};

#define _CSI_                   "\e["
#define _PRS_                   "+~"
#define _RLS_                   "-~"
#define _HLD_                   ",~"
#define CSInfo_CUP(arg1,arg2)   _CSI_ #arg1 ";" #arg2 "H"
#define CSInfo_CHA(arg1)		_CSI_ #arg1 "G"
#define CSInfo_CPL(arg1)		_CSI_ #arg1 "F"
#define CFRAME_0                CSInfo_CUP(1000,0)
#define CFRAME_1                CSInfo_CUP(1001,0)
#define CFRAME_2                CSInfo_CUP(1002,0) 
#define EOL_EL                  "\e[K"
#define CSInfo_SGR(arg)         _CSI_ #arg "m"
#define CSInfo_SGRs(arg1,arg2)  _CSI_ #arg1 ";" #arg2 "m"
#define C1_DCS                  "\eP"
#define C1_PM                   "\e^"
#define C1_APC                  "\e_"
#define C1_ST                   "\e\\"
#define C1_OSC                  "\e]"
#define C1_SOS                  "\eX"
#define C1_SSA                  "\eF"
#define C1_ESA                  "\eG"
//#define CSInfo_DECRST(arg)      _CSI_ "?" #arg "l"
//#define CSInfo_DECRST_END       _CSI_ "?25h"
//#define CSInfo_DECSCNM         _CSI_ "?5h"
//#define CSInfo_DECCKM          _CSI_ "?1h"
//#define CSInfo_DECCKM_END      _CSI_ "?1l"
//#define CSInfo_DECAWM          _CSI_ "?7h"
//#define CSInfo_DECAWM_END      _CSI_ "?7l"
//#define CSInfo_DECTCEM         _CSI_ "?25h"
//#define CSInfo_DECTCEM_END     _CSI_ "?25l"
```

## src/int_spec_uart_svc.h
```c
#include <zephyr/drivers/uart.h>
#include <zephyr/drivers/gpio.h>

// for SEND BREAK
#define STD_GPIO_UART_BRK      1
#define HAL_GPIO_UART_BRK      2
#define HAZARD_UART_BRK        3
#ifndef UART_SEND_BREAK_METHOD
  #define UART_SEND_BREAK_METHOD HAZARD_UART_BRK
#endif

// for TRNASCIVER CONTROL
#define STD_GPIO_UART_XMT_RCV  1
#define HAL_GPIO_UART_XMT_RCV  2
#define HAZARD_UART_XMT_RCV    3
#ifndef UART_XMT_RCV_METHOD
  #define UART_XMT_RCV_METHOD    HAZARD_UART_XMT_RCV
#endif

#define UART_CTRL_FULL_DUPLEX 1
#define UART_CTRL_HALF_DUPLEX 2

//  // transmitter enable
//  int spec_uart_xmt_enable(void);
//  
//  // transmitter disable
//  int spec_uart_xmt_disable(void);
//  
//  // receiver enable
//  int spec_uart_rcv_enable(void);
//  
//  // reciever disable
//  int spec_uart_rcv_disable(void);
//  int spec_uart_tx_break(void);
//  int spec_uart_tx_make(void);

void spec_uart_rcv_begin(void);
void spec_uart_rcv_end(void);

// arg 1 : PTR uart device
// arg 2 : PTR uart config 
// arg 3 : gpio_de_spec[] {PTR gpio txen/xmt, PTR rxen/rcv, PTR tx} , for auto xmt/rcv control
// arg 4 : sizeof arg 3
// arg 5 : UART_CTRL_FULL_DUPLEX / UART_CTRL_HALF_DUPLEX
void spec_uart_init(const struct device *spec_uart, struct uart_config *uart_cfg_p, const struct gpio_dt_spec * gpio_list_p, int gpio_list_sz, int aux_flags);

int spec_uart_write(void * buf_p, size_t len);
int spec_uart_putc(int ch);
int spec_uart_read(void * buf_p, size_t len);
int spec_uart_getc(void);

void spec_uart_sendbreak(int val);
bool spec_uart_throttle(uint32_t tm_us);
bool spec_uart_xmt_complete(void);
void spec_uart_xmt_drain(void);
void spec_uart_xmt_flush(void);
void spec_uart_rcv_flush(void);
// void gpiodt_2_pin_st(struct gpio_dt_spec * gpiodt_p,struct io_pin_st * pin_p);
// void spec_uart_cb(const struct device *dev, void *user_data);
```

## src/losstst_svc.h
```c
#ifndef __LOSSTST_SVC_H__
#define __LOSSTST_SVC_H__

#ifdef __cplusplus
extern "C" {
#endif

#include <stdint.h>

struct TEST_PARM
{
	int8_t txpwr;
	int8_t interval_idx;
	int8_t count_idx;
	bool (*envmon_abort)(void);
	bool (*sender_abort)(void);
	bool (*scanner_abort)(void);
	bool (*numcast_abort)(void);
	//void (*txpower_setup)(int8_t);
	unsigned phy_2m:1;
	unsigned phy_1m:1;
	unsigned phy_s8:1;
	unsigned phy_ble4:1;
	unsigned inhibit_ch37:1;
	unsigned inhibit_ch38:1;
	unsigned inhibit_ch39:1;
	unsigned non_ANONYMOUS:1;
	unsigned ignore_rcv_resp:1;
};

extern void sender_setup(struct TEST_PARM * parm_p);
extern void scanner_setup(struct TEST_PARM * parm_p);
extern void numcast_setup(struct TEST_PARM * parm_p);
extern void envmon_setup(struct TEST_PARM * parm_p);

extern int losstst_init(void);
extern int losstst_sender(void);
extern int losstst_scanner(void);
extern int losstst_numcast(void);
extern int losstst_envmon(void);

extern int8_t numcst_task_tgr(int8_t set);
extern int8_t scanner_task_tgr(int8_t set);
extern int8_t sender_task_tgr(int8_t set);
extern int8_t envmon_task_tgr(int8_t set);
extern int8_t numcst_task_status(void) ;
extern int8_t scanner_task_status(void);
extern int8_t sender_task_status(void) ;
extern int8_t envmon_task_status(void) ;

// param   : 0 enquire idx val
//         :>0 increase idx val
//         :<0 decrease idx val
// return  : idx val
extern uint8_t enum_adv_interval_idx(int8_t);

// param   :0..10 idx val ( adv_interval_lower(enum_adv_interval_idx(0)) )
// return  : minimum interval_tm (millisecond)
extern uint16_t adv_interval_lower(uint8_t);

// param   :0..10 idx val ( adv_interval_upper(enum_adv_interval_idx(0)) )
// return  : maximum interval_tm (millisecond)
extern uint16_t adv_interval_upper(uint8_t);


// param   : process vale (dBm)
// return  : set value (dBm)
extern int8_t get_txpower_sv(int8_t process_value);

// param   : set vale (dBm)
// return  : effect tx power (dBm)
extern int8_t get_txpower_pv(int8_t set_value);

// param   : tx power level (dBm)
// return  : effect tx power (dBm)
extern int8_t get_txpower_effect(int8_t tx_power_level);

// param   : 0 enquire idx val
//         :>0 increase idx val
//         :<0 decrease idx val
// return  : tx power (dBm)
extern int8_t enum_txpower(int8_t);

// param   : 0 enquire idx val
//         :>0 increase idx val
//         :<0 decrease idx val
// return  : idx val
extern uint8_t enum_totalnum_idx(int8_t);

// param   : 0 enquire idx val
//         :>0 increase idx val
//         :<0 decrease idx val
// return  : total number (for sender/xmt)
extern uint16_t enum_totalnum(int8_t);

// param   :0 PHY_1M_2M
//         :1 PHY_1M_1M
//         :2 PHY_S8_S8 (coded)
//         :3 PHY_BLEv4
// return  :subtotal number
extern uint16_t xmt_ratio_lower(uint8_t);

// param   :0 PHY_1M_2M
//         :1 PHY_1M_1M
//         :2 PHY_S8_S8 (coded)
//         :3 PHY_BLEv4
// return  :total number
extern uint16_t xmt_ratio_upper(uint8_t);

// param   :0 PHY_1M_2M
//         :1 PHY_1M_1M
//         :2 PHY_S8_S8 (coded)
//         :3 PHY_BLEv4
// return  :subtotal number
extern uint16_t rcv_ratio_lower(uint8_t);

// param   :0 PHY_1M_2M
//         :1 PHY_1M_1M
//         :2 PHY_S8_S8 (coded)
//         :3 PHY_BLEv4
// return  :subtotal number
extern uint16_t rcv_ratio_upper(uint8_t);

// param   :0 PHY_1M_2M
//         :1 PHY_1M_1M
//         :2 PHY_S8_S8 (coded)
//         :3 PHY_BLEv4
// return  :rssi value (average, 20..-127 dBm)
extern int8_t rcv_rssi_average(uint8_t);

// param   :0 PHY_1M_2M
//         :1 PHY_1M_1M
//         :2 PHY_S8_S8 (coded)
//         :3 PHY_BLEv4
// return  :rssi value (minimum, 20..-127 dBm)
extern int8_t rcv_rssi_lower(uint8_t);// param   :0 PHY_1M_2M

//         :1 PHY_1M_1M
//         :2 PHY_S8_S8 (coded)
//         :3 PHY_BLEv4
// return  :rssi value (maxmum, 20..-127 dBm)
extern int8_t rcv_rssi_upper(uint8_t);


extern int8_t envmon_rssi_average(uint8_t idx);
extern int8_t envmon_rssi_lower(uint8_t idx);
extern int8_t envmon_rssi_upper(uint8_t idx);

// return  :rssi value (average, 20..-127 dBm)
extern int8_t numcst_rssi_average(void);

// return  :rssi value (minimum, 20..-127 dBm)
extern int8_t numcst_rssi_lower(void);

// return  :rssi value (minimum, 20..-127 dBm)
extern int8_t numcst_rssi_upper(void);

// param   :field, 0..3
//         :digit, setval 0..999, increment >1000, no change <0
// return  :digit, 0..999
extern int16_t numcst_setval(uint8_t,int16_t);

// param   :field, 0..3
// return  :digit, 0..999
extern int16_t numcst_rxval(uint8_t);

// param   :0 PHY_1M_2M
//         :1 PHY_1M_1M
//         :2 PHY_S8_S8 (coded)
//         :3 PHY_BLEv4
// return  :receiver progress (0:idle, 1:pre-run, 2:runing, 3: post-run)
extern int8_t rcv_state_mark(uint8_t);
extern int8_t rcv_state_progress(uint8_t);

// param   :0 PHY_1M_2M
//         :1 PHY_1M_1M
//         :2 PHY_S8_S8 (coded)
//         :3 PHY_BLEv4
// return  :sender progress (0:idle, 1:pre-run, 2:runing, 3: post-run)
extern int8_t snd_state_mark(uint8_t);

// param   :0 PHY_1M_2M
//         :1 PHY_1M_1M
//         :2 PHY_S8_S8 (coded)
//         :3 PHY_BLEv4
// return  :received packet count (for receive/scanner progress)
extern uint32_t rcv_stats_val(uint8_t);

// param   :0 PHY_1M_2M
//         :1 PHY_1M_1M
//         :2 PHY_S8_S8 (coded)
//         :3 PHY_BLEv4
// return  :received packet count (for environment progress)
extern uint32_t env_stats_val(uint8_t);

// clear received packet counter
extern void env_stats_clr(void);

// enquire sender id
extern uint16_t sender_id(void);
extern uint8_t sender_id_upper(void);
extern uint8_t sender_id_lower(void);

// enquire sender tx power
extern int8_t sender_txpower(void);

// receiver/scanner side don't respond
extern bool get_uni_cast_method(void);
extern void chg_uni_cast_method(void);

// enquire/change soc powewr regulator feature
// return  : 0, linear method; >0, switching method; <0, unknown regulator type
extern int chg_soc_dcdc(void);
extern int get_soc_dcdc(void);

// enquire/change number cast feature
// return  : false, manual method; true, auto/continuous method;
extern bool get_number_cast_auto(void);
extern bool chg_number_cast_auto(void);

// remote side node-id, upper field
extern uint8_t numcst_src_id_upper(void);

// remote side node-id, lower field
extern uint8_t numcst_src_id_lower(void);

// param   :0 PHY_1M_2M
//         :1 PHY_1M_1M
//         :2 PHY_S8_S8 (coded)
//         :3 PHY_BLEv4
// return  :packet arrive
extern bool numcast_phy_mark(uint8_t);

extern bool get_cfg_ch37(void);
extern bool get_cfg_ch38(void);
extern bool get_cfg_ch39(void);
extern bool get_cfg_ANONYMOUS(void);
extern bool get_cfg_NON_ANONYMOUS(void);
extern bool get_cfg_phy2m(void);
extern bool get_cfg_phy1m(void);
extern bool get_cfg_phy8s(void);
extern bool get_cfg_phyBLEv4(void);
extern bool get_cfg_phy_sel(uint8_t idx);

extern bool chg_cfg_ch37(void);
extern bool chg_cfg_ch38(void);
extern bool chg_cfg_ch39(void);
extern bool chg_cfg_phy2m(void);
extern bool chg_cfg_phy1m(void);
extern bool chg_cfg_phy8s(void);
extern bool chg_cfg_phyBLEv4(void);
extern bool chg_cfg_ANONYMOUS(void);

// local node id, upper field
extern uint8_t node_id_upper(void);
// local node id, upper field
extern uint8_t node_id_lower(void);


extern bool rm_rush_msg_outgoing(void * data_p, size_t sz);
extern bool rc_rush_msg_outgoing(void * data_p, size_t sz);
extern bool rm_msg_outgoing(void * data_p, size_t sz);
extern bool rc_msg_outgoing(void * data_p, size_t sz);
extern bool chk_rc_party(bt_addr_le_t * addr_p);
extern bool set_rc_party(bt_addr_le_t * addr_p);
extern bool clr_rc_party(void);

#ifdef __cplusplus
}
#endif

#endif //  __LOSSTST_SVC_H__
```

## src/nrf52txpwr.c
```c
#include "nrf52txpwr.h"

mpsl_tx_power_envelope_t txpwr_setting[6];
int8_t txpwr_envelope[6]={-1,-1,-1,-1,-1,-1};
//CONFIG_BT_CTLR_TX_PWR_ANTENNA
//CONFIG_BT_CTLR_TX_PWR_DYNAMIC_CONTROL
//CONFIG_BT_CTLR_PHY_2M
//CONFIG_BT_CTLR_PHY_CODED

#define GET_SYM_DECL(CFG_SYM) uint32_t get_GSYM_ ##CFG_SYM(void) __attribute__((weak));
#define GET_SYM_VAL(CFG_SYM) get_GSYM_ ##CFG_SYM()
#define GET_SYM_IMPL(CFG_SYM) const uint32_t CFG_SYM __attribute__((weak)); uint32_t get_GSYM_ ##CFG_SYM (void) { return (uint32_t)&CFG_SYM ; }

GET_SYM_DECL(CONFIG_BT_CTLR_TX_PWR_ANTENNA)
GET_SYM_DECL(CONFIG_BT_CTLR_TX_PWR_DYNAMIC_CONTROL)
GET_SYM_DECL(CONFIG_BT_CTLR_PHY_2M)
GET_SYM_DECL(CONFIG_BT_CTLR_PHY_CODED)

int32_t mpsl_tx_power_channel_map_set(const mpsl_tx_power_envelope_t *const p_envelope) __attribute__((weak));
int32_t mpsl_tx_power_channel_map_set(const mpsl_tx_power_envelope_t *const p_envelope) { return 0; }

int32_t txpwr_set(mpsl_tx_power_t pwr)
{
	int32_t err;
	mpsl_tx_power_t setval;
	int8_t phy_select=MPSL_PHY_BLE_1M;
	int8_t envelope_next;
	int8_t envelope_prev;
	int8_t sweep;
	if(0==GET_SYM_VAL(CONFIG_BT_CTLR_TX_PWR_DYNAMIC_CONTROL)) return -1;
	setval=MIN((CONFIG_BT_CTLR_TX_PWR_ANTENNA),pwr);
	//printk("CHK array size %u,%u\n",ARRAY_SIZE(txpwr_envelope),ARRAY_SIZE(txpwr_setting));
	do {
		switch(phy_select) {
			case MPSL_PHY_BLE_1M:
				break;
			case MPSL_PHY_BLE_2M:
			  #if(1)
				if(0==GET_SYM_VAL(CONFIG_BT_CTLR_PHY_2M)) continue;
			  #else
				#if !defined(CONFIG_BT_CTLR_PHY_2M)
				continue;
				#endif
			  #endif
				break;
			case MPSL_PHY_BLE_LR125Kbit:
			  #if(1)
				if(0==GET_SYM_VAL(CONFIG_BT_CTLR_PHY_2M)) continue;
			  #else
				#if !defined(CONFIG_BT_CTLR_PHY_CODED)
				continue;
				#endif
			  #endif
				break;
			case MPSL_PHY_BLE_LR500Kbit:
			  #if(1)
				if(0==GET_SYM_VAL(CONFIG_BT_CTLR_PHY_2M)) continue;
			  #else
				#if !defined(CONFIG_BT_CTLR_PHY_CODED)
				continue;
				#endif
			  #endif
				break;
			case MPSL_PHY_Ieee802154_250Kbit:
				break;
			default:
				continue;
		}
		envelope_prev=-1;
		for(sweep=0 ; ARRAY_SIZE(txpwr_envelope)>sweep ; sweep++) {
			if(phy_select==txpwr_envelope[sweep]) {
				envelope_prev=sweep;
				break;
			}
		}
		for(sweep=0 ; ARRAY_SIZE(txpwr_envelope)>sweep ; sweep++) {
			if(-1==txpwr_envelope[sweep]) {
				envelope_next=sweep;
				break;
			}
		}
		txpwr_setting[envelope_next].phy=phy_select;
		txpwr_setting[envelope_next].envelope.tx_power_ble[0]=setval;
		memset(&txpwr_setting[envelope_next].envelope.tx_power_ble[0],setval,sizeof(txpwr_setting[0].envelope));
		err=mpsl_tx_power_channel_map_set(&txpwr_setting[envelope_next]);
		//printk("phy_%u_prev(%d), phy_%u_next(%d), setval(%ddBm), %s\n",phy_select,envelope_prev,phy_select,envelope_next,setval,strerror(-err));
		if(err) break;
		txpwr_envelope[envelope_next]=phy_select;
		if(-1!=envelope_prev) txpwr_envelope[envelope_prev]=-1;
	} while(MPSL_PHY_Ieee802154_250Kbit >= ++phy_select);
	return err;
}


#undef CONFIG_BT_CTLR_TX_PWR_ANTENNA
#undef CONFIG_BT_CTLR_TX_PWR_DYNAMIC_CONTROL
#undef CONFIG_BT_CTLR_PHY_2M
#undef CONFIG_BT_CTLR_PHY_CODED

GET_SYM_IMPL(CONFIG_BT_CTLR_TX_PWR_ANTENNA)
GET_SYM_IMPL(CONFIG_BT_CTLR_TX_PWR_DYNAMIC_CONTROL)
GET_SYM_IMPL(CONFIG_BT_CTLR_PHY_2M)
GET_SYM_IMPL(CONFIG_BT_CTLR_PHY_CODED)
```

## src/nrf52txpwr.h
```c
#include <zephyr/kernel.h>
#include <zephyr/sys/printk.h>
#include <zephyr/sys/util.h>

#include <zephyr/bluetooth/bluetooth.h>

#include <hal/nrf_radio.h>
#include <mpsl_tx_power.h>

extern int32_t txpwr_set(mpsl_tx_power_t pwr);
```
